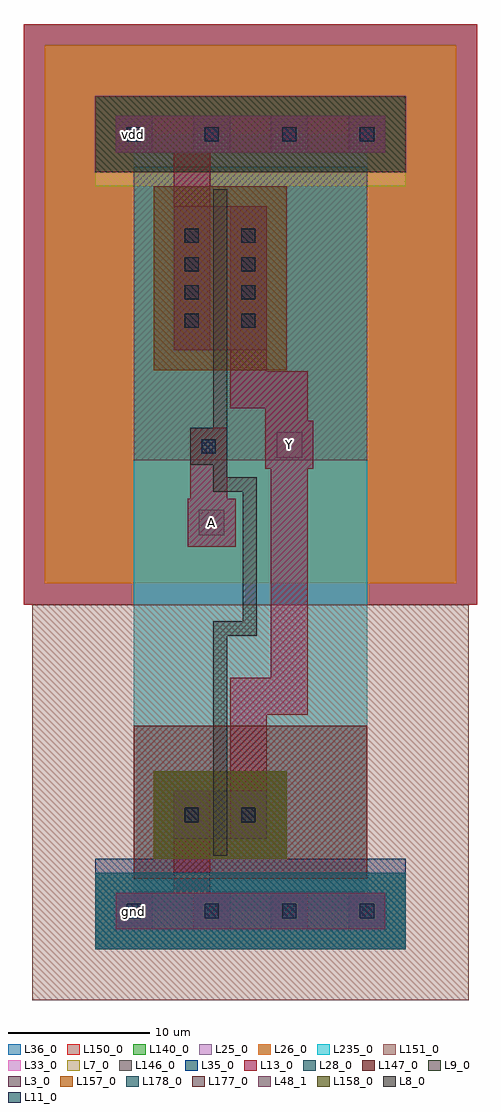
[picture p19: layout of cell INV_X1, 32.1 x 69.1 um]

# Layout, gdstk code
import gdstk
lib = gdstk.Library(unit=1e-6, precision=1e-09)
def R(c, l, rs):  # rectangles x0, y0, x1, y1
    for r in rs: c.add(gdstk.rectangle(r[:2], r[2:], *l))
def A(c, l, x, y, w, h, nx, ny, dx, dy):  # array of equal rectangles
    R(c, l, [(x+i*dx, y+j*dy, x+i*dx+w, y+j*dy+h) for i in range(nx) for j in range(ny)])
def P(c, l, *ps):  # polygons
    for p in ps: c.add(gdstk.Polygon(p, *l))
L3_0 = (3, 0)
L7_0 = (7, 0)
L8_0 = (8, 0)
L9_0 = (9, 0)
L11_0 = (11, 0)
L13_0 = (13, 0)
L25_0 = (25, 0)
L26_0 = (26, 0)
L28_0 = (28, 0)
L33_0 = (33, 0)
L35_0 = (35, 0)
L36_0 = (36, 0)
L48_1 = (48, 1)
L140_0 = (140, 0)
L146_0 = (146, 0)
L147_0 = (147, 0)
L150_0 = (150, 0)
L151_0 = (151, 0)
L157_0 = (157, 0)
L158_0 = (158, 0)
L177_0 = (177, 0)
L178_0 = (178, 0)
L235_0 = (235, 0)

inv_x1 = lib.new_cell('INV_X1')
A(inv_x1, L3_0, -1.3, -1.3, 2.6, 2.6, 4, 2, 5.5, 55)
R(inv_x1, L3_0, [(2.8,5.1,9.4,8.5), (2.8,39.7,9.4,49.9)])
R(inv_x1, L7_0, [(-2.75,-2.7,19.25,2.7)])
P(inv_x1, L7_0, [(1.4,38.3),(1.4,51.3),(-2.75,51.3),(-2.75,57.7),(19.25,57.7),(19.25,51.3),(10.8,51.3),(10.8,38.3)])
P(inv_x1, L8_0, [(5.6,3.9),(5.6,20.5),(7.7,20.5),(7.7,29.7),(5.6,29.7),(5.6,31.6),(4,31.6),(4,34.2),(5.6,34.2),(5.6,51.1),(6.6,51.1),(6.6,30.7),(8.7,30.7),(8.7,19.5),(6.6,19.5),(6.6,3.9)])
R(inv_x1, L9_0, [(1.4,3.7,10.8,9.9), (-2.75,52.3,19.25,57.7)])
A(inv_x1, L11_0, -0.5, -0.5, 1, 1, 4, 2, 5.5, 55)
A(inv_x1, L11_0, 3.6, 41.3, 1, 1, 1, 4, 0, 2)
A(inv_x1, L11_0, 7.6, 41.3, 1, 1, 1, 4, 0, 2)
R(inv_x1, L11_0, [(3.6,6.3,4.6,7.3), (7.6,6.3,8.6,7.3), (4.8,32.4,5.8,33.4)])
P(inv_x1, L13_0, [(-1.3,-1.3),(-1.3,1.3),(2.8,1.3),(2.8,8.5),(5.4,8.5),(5.4,1.3),(17.8,1.3),(17.8,-1.3)],
  [(3.8,25.8),(3.8,29.2),(4,29.2),(4,34.2),(6.6,34.2),(6.6,29.2),(7.2,29.2),(7.2,25.8)],
  [(6.8,5.1),(6.8,16.5),(9.7,16.5),(9.7,31.3),(9.3,31.3),(9.3,35.6),(6.8,35.6),(6.8,49.9),(9.4,49.9),(9.4,38.2),(12.3,38.2),(12.3,34.7),(12.7,34.7),(12.7,31.3),(12.3,31.3),(12.3,13.9),(9.4,13.9),(9.4,5.1)],
  [(2.8,39.7),(2.8,53.7),(-1.3,53.7),(-1.3,56.3),(17.8,56.3),(17.8,53.7),(5.4,53.7),(5.4,39.7)])
R(inv_x1, L25_0, [(-6.3,23.2,22.8,61.3)])
R(inv_x1, L26_0, [(-6.3,23.2,22.8,61.3)])
R(inv_x1, L28_0, [(-2.75,-2.7,19.25,2.7), (1.4,38.3,10.8,51.3)])
P(inv_x1, L33_0, [(-2.75,-2.7),(-2.75,3.7),(1.4,3.7),(1.4,9.9),(10.8,9.9),(10.8,3.7),(19.25,3.7),(19.25,-2.7)],
  [(1.4,38.3),(1.4,51.3),(-2.75,51.3),(-2.75,57.7),(19.25,57.7),(19.25,51.3),(10.8,51.3),(10.8,38.3)])
R(inv_x1, L35_0, [(-2.75,52.3,19.25,57.7)])
P(inv_x1, L35_0, [(-2.75,-2.7),(-2.75,3.7),(1.4,3.7),(1.4,9.9),(10.8,9.9),(10.8,3.7),(19.25,3.7),(19.25,-2.7)])
R(inv_x1, L36_0, [(-7.8,21.7,24.3,62.8)])
R(inv_x1, L48_1, [(-1.3,-1.3,17.8,1.3), (4.6,26.6,6.4,28.4), (10.1,32.1,11.9,33.9), (-1.3,53.7,17.8,56.3)])
R(inv_x1, L140_0, [(-6.3,23.2,22.8,61.3)])
R(inv_x1, L146_0, [(0,31.9,16.5,52.7)])
R(inv_x1, L147_0, [(0,2.3,16.5,13.1)])
R(inv_x1, L150_0, [(-7.8,21.7,24.3,62.8)])
R(inv_x1, L151_0, [(-7.2,-6.3,23.7,21.7)])
R(inv_x1, L157_0, [(1.4,38.3,10.8,51.3)])
R(inv_x1, L158_0, [(1.4,3.7,10.8,9.9)])
R(inv_x1, L177_0, [(-2.75,52.3,19.25,57.7)])
R(inv_x1, L178_0, [(-2.75,-2.7,19.25,2.7)])
R(inv_x1, L235_0, [(0,0,16.5,55)])
inv_x1.add(gdstk.Label('A', (5.5,27.5), layer=48, texttype=0))
inv_x1.add(gdstk.Label('vdd', (0,55), layer=48, texttype=0))
inv_x1.add(gdstk.Label('gnd', (0,0), layer=48, texttype=0))
inv_x1.add(gdstk.Label('Y', (11,33), layer=48, texttype=0))

lib.write_gds('INV_X1.gds')
